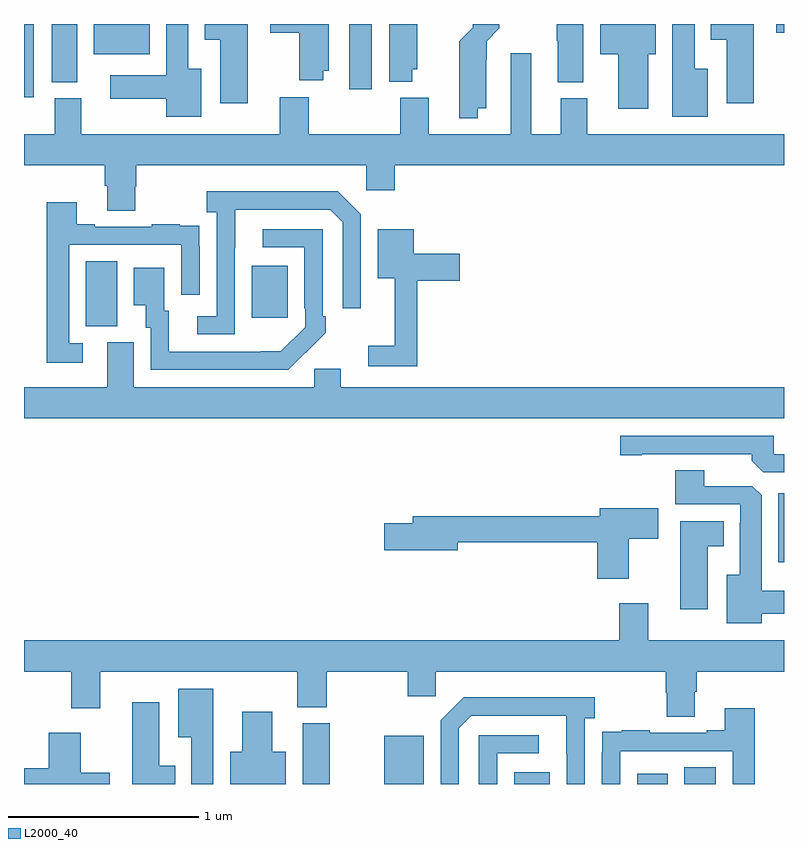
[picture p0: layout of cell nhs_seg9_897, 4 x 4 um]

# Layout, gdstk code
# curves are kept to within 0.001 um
import gdstk
lib = gdstk.Library(unit=1e-6, precision=1e-09)
def R(c, l, rs):  # rectangles x0, y0, x1, y1
    for r in rs: c.add(gdstk.rectangle(r[:2], r[2:], *l))
def P(c, l, *ps):  # polygons
    for p in ps: c.add(gdstk.Polygon(p, *l))
L2000_40 = (2000, 40)

nhs_seg9_897 = lib.new_cell('nhs_seg9_897')
R(nhs_seg9_897, L2000_40, [(160.466,1190.5,160.608,1190.82), (160.897,1190.5,161.104,1190.755), (161.579,1190.5,161.767,1190.563), (162.227,1190.5,162.388,1190.554), (162.476,1190.5,162.64,1190.588), (162.971,1191.668,163,1192.03), (159.326,1192.909,159.49,1193.252), (160.199,1192.953,160.387,1193.227), (159,1194.114,159.051,1194.5), (160.712,1194.156,160.831,1194.5), (159.146,1194.193,159.28,1194.5), (159.368,1194.341,159.661,1194.5), (162.96,1194.454,163,1194.5)])
P(nhs_seg9_897, L2000_40, [(159.934,1194.265),(159.865,1194.265),(159.865,1194.5),(159.749,1194.5),(159.749,1194.229),(159.453,1194.229),(159.453,1194.107),(159.749,1194.107),(159.749,1194.011),(159.934,1194.011)],
  [(161.044,1194.261),(161.071,1194.261),(161.071,1194.5),(160.922,1194.5),(160.922,1194.197),(161.044,1194.197)],
  [(162.286,1194.341),(162.325,1194.341),(162.325,1194.5),(162.032,1194.5),(162.032,1194.341),(162.128,1194.341),(162.128,1194.054),(162.286,1194.054)],
  [(162.598,1194.265),(162.529,1194.265),(162.529,1194.5),(162.413,1194.5),(162.413,1194.011),(162.598,1194.011)],
  [(160.576,1194.255),(160.603,1194.255),(160.603,1194.5),(160.296,1194.5),(160.296,1194.454),(160.448,1194.454),(160.448,1194.203),(160.576,1194.203)],
  [(160.177,1194.5),(159.95,1194.5),(159.95,1194.416),(160.034,1194.416),(160.034,1194.084),(160.177,1194.084)],
  [(161.389,1194.056),(161.434,1194.056),(161.435,1194.41),(161.502,1194.477),(161.502,1194.5),(161.361,1194.5),(161.361,1194.48),(161.291,1194.41),(161.292,1194.005),(161.389,1194.005)],
  [(162.841,1194.5),(162.614,1194.5),(162.614,1194.416),(162.698,1194.416),(162.698,1194.084),(162.841,1194.084)],
  [(161.944,1194.5),(161.803,1194.5),(161.803,1194.411),(161.81,1194.411),(161.81,1194.193),(161.944,1194.193)],
  [(159.161,1194.108),(159.161,1193.92),(159,1193.92),(159,1193.756),(159.425,1193.756),(159.425,1193.65),(159.437,1193.65),(159.437,1193.518),(159.585,1193.518),(159.585,1193.643),(159.59,1193.643),(159.59,1193.756),(160.8,1193.756),(160.8,1193.625),(160.952,1193.625),(160.952,1193.756),(163,1193.756),(163,1193.92),(161.965,1193.92),(161.965,1194.108),(161.825,1194.108),(161.825,1193.92),(161.671,1193.92),(161.671,1194.346),(161.561,1194.346),(161.561,1193.92),(161.131,1193.92),(161.131,1194.112),(160.979,1194.112),(160.979,1193.92),(160.499,1193.92),(160.499,1194.115),(160.346,1194.115),(160.346,1193.92),(159.301,1193.92),(159.301,1194.108)],
  [(160.11,1193.323),(160.111,1193.523),(160.611,1193.523),(160.677,1193.457),(160.677,1193.004),(160.773,1193.004),(160.773,1193.499),(160.652,1193.62),(159.963,1193.62),(159.963,1193.51),(160.014,1193.51),(160.014,1192.962),(159.912,1192.962),(159.912,1192.866),(160.11,1192.866)],
  [(159.31,1192.821),(159.237,1192.821),(159.237,1193.337),(159.828,1193.337),(159.828,1193.076),(159.924,1193.076),(159.924,1193.33),(159.923,1193.33),(159.923,1193.439),(159.821,1193.439),(159.821,1193.446),(159.673,1193.446),(159.673,1193.433),(159.373,1193.433),(159.373,1193.446),(159.277,1193.446),(159.277,1193.563),(159.121,1193.563),(159.121,1192.716),(159.31,1192.716)],
  [(160.481,1192.771),(160.482,1192.77),(160.587,1192.875),(160.587,1192.963),(160.572,1192.963),(160.572,1193.421),(160.257,1193.421),(160.257,1193.325),(160.476,1193.325),(160.476,1193.005),(160.479,1193.005),(160.479,1192.905),(160.351,1192.777),(159.763,1192.776),(159.763,1192.992),(159.739,1192.992),(159.739,1193.218),(159.578,1193.218),(159.578,1193.021),(159.641,1193.021),(159.641,1192.902),(159.666,1192.902),(159.666,1192.68),(160.39,1192.68)],
  [(161.069,1193.15),(161.293,1193.15),(161.293,1193.292),(161.05,1193.292),(161.05,1193.419),(160.862,1193.419),(160.862,1193.162),(160.952,1193.162),(160.952,1192.807),(160.812,1192.807),(160.812,1192.698),(161.069,1192.698)],
  [(163,1192.588),(160.666,1192.588),(160.666,1192.686),(160.527,1192.686),(160.527,1192.588),(159.577,1192.588),(159.577,1192.824),(159.437,1192.824),(159.437,1192.588),(159,1192.588),(159,1192.424),(163,1192.424)],
  [(163,1192.236),(162.945,1192.236),(162.945,1192.332),(162.138,1192.332),(162.138,1192.231),(162.25,1192.231),(162.25,1192.236),(162.83,1192.236),(162.83,1192.202),(162.891,1192.14),(163,1192.14)],
  [(162.883,1191.395),(163,1191.395),(163,1191.517),(162.883,1191.517),(162.883,1192.019),(162.834,1192.068),(162.58,1192.068),(162.58,1192.151),(162.428,1192.151),(162.428,1191.972),(162.771,1191.972),(162.771,1191.875),(162.767,1191.875),(162.767,1191.601),(162.698,1191.601),(162.698,1191.347),(162.883,1191.347)],
  [(162.184,1191.79),(162.337,1191.79),(162.337,1191.952),(162.029,1191.952),(162.029,1191.908),(161.045,1191.908),(161.045,1191.872),(160.896,1191.872),(160.896,1191.73),(161.284,1191.73),(161.284,1191.772),(162.017,1191.772),(162.017,1191.579),(162.184,1191.579)],
  [(162.598,1191.752),(162.682,1191.752),(162.682,1191.883),(162.455,1191.883),(162.455,1191.42),(162.598,1191.42)],
  [(162.529,1190.986),(162.542,1190.986),(162.542,1191.092),(163,1191.092),(163,1191.256),(162.286,1191.256),(162.286,1191.451),(162.134,1191.451),(162.134,1191.256),(159,1191.256),(159,1191.092),(159.248,1191.092),(159.248,1190.898),(159.4,1190.898),(159.4,1191.092),(160.438,1191.092),(160.438,1190.905),(160.593,1190.905),(160.593,1191.092),(161.02,1191.092),(161.02,1190.961),(161.166,1190.961),(161.166,1191.092),(162.377,1191.092),(162.377,1190.979),(162.382,1190.979),(162.382,1190.854),(162.529,1190.854)],
  [(159.997,1191.001),(159.812,1191.001),(159.812,1190.747),(159.881,1190.747),(159.881,1190.5),(159.997,1190.5)],
  [(161.289,1190.793),(161.355,1190.859),(161.855,1190.859),(161.856,1190.5),(161.952,1190.5),(161.952,1190.846),(162.004,1190.846),(162.004,1190.956),(161.314,1190.956),(161.193,1190.835),(161.193,1190.5),(161.289,1190.5)],
  [(159.796,1190.596),(159.712,1190.596),(159.712,1190.929),(159.569,1190.929),(159.569,1190.5),(159.796,1190.5)],
  [(162.138,1190.673),(162.729,1190.673),(162.729,1190.5),(162.845,1190.5),(162.845,1190.899),(162.689,1190.899),(162.689,1190.782),(162.593,1190.782),(162.593,1190.769),(162.293,1190.769),(162.293,1190.782),(162.145,1190.782),(162.145,1190.775),(162.043,1190.775),(162.043,1190.666),(162.042,1190.666),(162.042,1190.5),(162.138,1190.5)],
  [(160.378,1190.671),(160.306,1190.671),(160.306,1190.881),(160.148,1190.881),(160.148,1190.671),(160.085,1190.671),(160.085,1190.5),(160.378,1190.5)],
  [(159.451,1190.559),(159.298,1190.559),(159.298,1190.77),(159.131,1190.77),(159.131,1190.582),(159,1190.582),(159,1190.5),(159.451,1190.5)],
  [(161.49,1190.661),(161.71,1190.661),(161.71,1190.757),(161.394,1190.757),(161.394,1190.5),(161.49,1190.5)])

lib.write_gds('nhs_seg9_897.gds')
